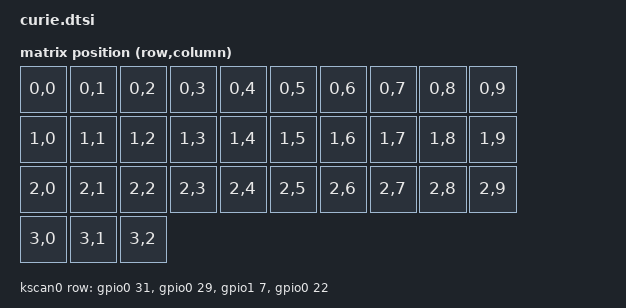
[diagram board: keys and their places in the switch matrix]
/*
 * Copyright (c) 2020 The ZMK Contributors
 *
 * SPDX-License-Identifier: MIT
 */

#include <dt-bindings/zmk/matrix_transform.h>
#include <dt-bindings/input/input-event-codes.h>
// #include <dt-bindings/lvgl/lvgl.h>


/ {
	chosen {
		zmk,physical-layout = &default_layout;
		zmk,kscan = &kscan0 ;
	};

	default_layout: default_layout {
		compatible = "zmk,physical-layout";
		display-name = "Default Layout";
		transform = <&default_transform>;
	};
	default_transform: keymap_transform_0 {
		compatible = "zmk,matrix-transform";
		columns = <10>;
		rows = <4>;
		// | SW1  | SW2  | SW3  | SW4  | SW5  | SW6  |   | SW6  | SW5  | SW4  | SW3  | SW2  | SW1  |
		// | SW7  | SW8  | SW9  | SW10 | SW11 | SW12 |   | SW12 | SW11 | SW10 | SW9  | SW8  | SW7  |
		// | SW13 | SW14 | SW15 | SW16 | SW17 | SW18 |   | SW18 | SW17 | SW16 | SW15 | SW14 | SW13 |
		//                      | SW19 | SW20 | SW21 |   | SW21 | SW20 | SW19 |
		map = <
		RC(0,0) RC(0,1) RC(0,2) RC(0,3) RC(0,4)     RC(0,5) RC(0,6) RC(0,7) RC(0,8) RC(0,9)
		RC(1,0) RC(1,1) RC(1,2) RC(1,3) RC(1,4)     RC(1,5) RC(1,6) RC(1,7) RC(1,8) RC(1,9)
		RC(2,0) RC(2,1) RC(2,2) RC(2,3) RC(2,4)     RC(2,5) RC(2,6) RC(2,7) RC(2,8) RC(2,9)
		RC(3,0) RC(3,1) RC(3,2)
		>;
	};

	kscan0: kscan {
		compatible = "zmk,kscan-gpio-matrix";
		wakeup-source;
		diode-direction = "row2col";
		row-gpios = <&gpio0 31 GPIO_ACTIVE_HIGH>,
		            <&gpio0 29 GPIO_ACTIVE_HIGH>,
		            <&gpio1 7 GPIO_ACTIVE_HIGH>,
		            <&gpio0 22 GPIO_ACTIVE_HIGH>;


	};

	qdec {
		compatible = "gpio-qdec";
		gpios = <&gpio1 1 GPIO_ACTIVE_HIGH>, <&gpio1 2 GPIO_ACTIVE_HIGH>;
		steps-per-period = <4>;
		zephyr,axis = <INPUT_REL_WHEEL>;
		sample-time-us = <2000>;
		idle-timeout-ms = <200>;
		status = "okay";
	};

	lvgl_encoder_input {
		compatible = "zephyr,lvgl-encoder-input";
		rotation-input-code = <INPUT_REL_WHEEL>;
		button-input-code = <INPUT_KEY_ENTER>;
		input = <&qdec>;
		status = "okay";
	};
	

	// left_encoder: encoder_left {
	// 	    compatible = "alps,ec11";
	// 	    a-gpios = <&gpio1 1 (GPIO_ACTIVE_HIGH | GPIO_PULL_UP)>;
	// 	    b-gpios = <&gpio1 2 (GPIO_ACTIVE_HIGH | GPIO_PULL_UP)>;
	// 	    steps = <80>;
	// 	    status = "okay";
	// };

	// sensors: sensors {
		//     compatible = "zmk,keymap-sensors";
		//     sensors = <&left_encoder>;
		//     triggers-per-rotation = <20>;
	// };



	// &pro_micro_i2c {
		//     status = "okay";

		//     oled: ssd1306@3c {
			//         compatible = "solomon,ssd1306fb";
			//         reg = <0x3c>;
			//         width = <128>;
			//         height = <32>;
			//         segment-offset = <0>;
			//         page-offset = <0>;
			//         display-offset = <0>;
			//         multiplex-ratio = <31>;
			//         segment-remap;
			//         com-invdir;
			//         com-sequential;
			//         inversion-on;
			//         prechargep = <0x22>;
		//     };
	};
